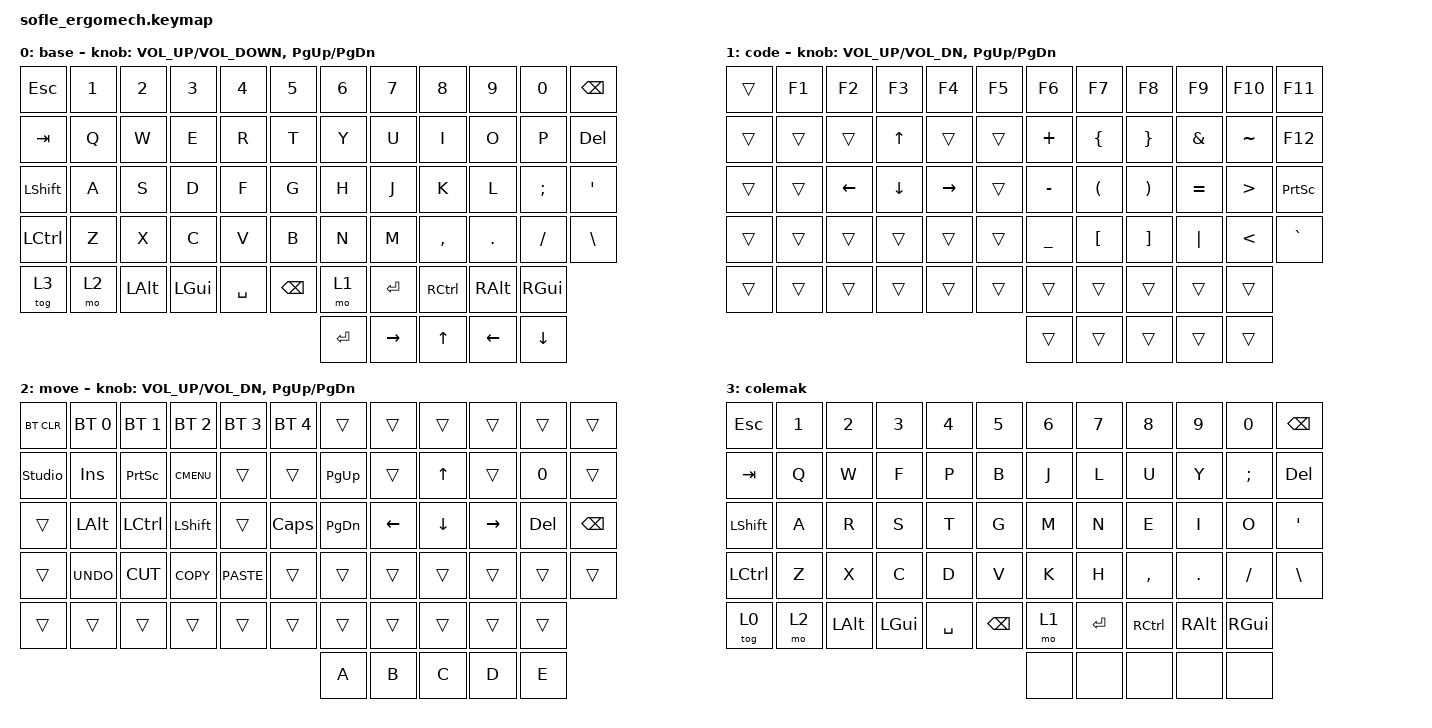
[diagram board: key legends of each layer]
/*
 * Copyright (c) 2020 The ZMK Contributors
 *
 * SPDX-License-Identifier: MIT
 */

#include <behaviors.dtsi>
#include <dt-bindings/zmk/bt.h>
#include <dt-bindings/zmk/keys.h>

#define BASE 0
#define LOWER 1
#define RAISE 2
#define ADJUST 3

/ {
    // Activate ADJUST layer by pressing raise and lower

    conditional_layers {
        compatible = "zmk,conditional-layers";

        adjust_layer {
            if-layers = <LOWER RAISE>;
            then-layer = <ADJUST>;
        };
    };

    keymap {
        compatible = "zmk,keymap";

        Base {
            label = "base";

            // ------------------------------------------------------------------------------------------------------------
            // |   `   |  1  |  2  |  3   |  4   |  5   |                   |  6   |  7    |  8    |  9   |   0   |       |
            // |  ESC  |  Q  |  W  |  E   |  R   |  T   |                   |  Y   |  U    |  I    |  O   |   P   | BKSPC |
            // |  TAB  |  A  |  S  |  D   |  F   |  G   |                   |  H   |  J    |  K    |  L   |   ;   |   '   |
            // | SHIFT |  Z  |  X  |  C   |  V   |  B   |  MUTE  |  |       |  N   |  M    |  ,    |  .   |   /   | SHIFT |
            //               | GUI | ALT  | CTRL | LOWER|  ENTER |  | SPACE | RAISE| CTRL  | ALT   | GUI  |

            bindings = <
&kp ESCAPE        &kp N1  &kp N2    &kp N3        &kp N4     &kp N5         &kp N6     &kp N7     &kp N8        &kp N9    &kp N0    &kp BSPC
&kp TAB           &kp Q   &kp W     &kp E         &kp R      &kp T          &kp Y      &kp U      &kp I         &kp O     &kp P     &kp DEL
&kp LEFT_SHIFT    &kp A   &kp S     &kp D         &kp F      &kp G          &kp H      &kp J      &kp K         &kp L     &kp SEMI  &kp SQT
&kp LEFT_CONTROL  &kp Z   &kp X     &kp C         &kp V      &kp B          &kp N      &kp M      &kp COMMA     &kp DOT   &kp FSLH  &kp BACKSLASH
&tog 3            &mo 2   &kp LALT  &kp LEFT_GUI  &kp SPACE  &kp BACKSPACE  &mo 1      &kp ENTER  &kp RCTRL     &kp RALT  &kp RGUI
                                                                            &kp ENTER  &kp RIGHT  &kp UP_ARROW  &kp LEFT  &kp DOWN
            >;

            sensor-bindings =
                <&inc_dec_kp C_VOLUME_UP C_VOLUME_DOWN>,
                <&inc_dec_kp PG_UP PG_DN>;
        };

        Code {
            label = "code";

            // TODO: Some binds are waiting for shifted keycode support.
            // ------------------------------------------------------------------------------------------------------------
            // |       |  F1 |  F2 |  F3  |  F4  |  F5  |                   |  F6  |  F7   |  F8   |  F9  |  F10  |  F11  |
            // |   `   |  1  |  2  |  3   |  4   |  5   |                   |  6   |  7    |  8    |  9   |   0   |  F12  |
            // |       |  !  |  @  |  #   |  $   |  %   |                   |  ^   |  &    |  *    |  (   |   )   |   |   |
            // |       |  =  |  -  |  +   |  {   |  }   |        |  |       |  [   |  ]    |  ;    |  :   |   \   |       |
            //               |     |      |      |      |        |  |       |      |       |       |      |

            bindings = <
&trans  &kp F1  &kp F2    &kp F3    &kp F4     &kp F5  &kp F6     &kp F7                &kp F8                 &kp F9         &kp F10           &kp F11
&trans  &trans  &trans    &kp UP    &trans     &trans  &kp PLUS   &kp LEFT_BRACE        &kp RIGHT_BRACE        &kp AMPERSAND  &kp TILDE         &kp F12
&trans  &trans  &kp LEFT  &kp DOWN  &kp RIGHT  &trans  &kp MINUS  &kp LEFT_PARENTHESIS  &kp RIGHT_PARENTHESIS  &kp EQUAL      &kp GREATER_THAN  &kp PRINTSCREEN
&trans  &trans  &trans    &trans    &trans     &trans  &kp UNDER  &kp LEFT_BRACKET      &kp RIGHT_BRACKET      &kp PIPE       &kp LESS_THAN     &kp GRAVE
&trans  &trans  &trans    &trans    &trans     &trans  &trans     &trans                &trans                 &trans         &trans
                                                       &trans     &trans                &trans                 &trans         &trans
            >;

            sensor-bindings = <&inc_dec_kp C_VOL_UP C_VOL_DN &inc_dec_kp PG_UP PG_DN>;
        };

        Move {
            label = "move";

            // ------------------------------------------------------------------------------------------------------------
            // | BTCLR | BT1  | BT2  |  BT3  |  BT4  |  BT5 |                |      |      |       |      |       |       |
            // |       | INS  | PSCR | GUI   |       |      |                | PGUP |      |   ^   |      |       |       |
            // |       | ALT  | CTRL | SHIFT |       | CAPS |                | PGDN |   <- |   v   |  ->  |  DEL  | BKSPC |
            // |       | UNDO | CUT  | COPY  | PASTE |      |      |  |      |      |      |       |      |       |       |
            //                |      |       |       |      |      |  |      |      |      |       |      |

            bindings = <
&bt BT_CLR      &bt BT_SEL 0  &bt BT_SEL 1  &bt BT_SEL 2  &bt BT_SEL 3  &bt BT_SEL 4  &trans     &trans    &trans    &trans     &trans   &trans
&studio_unlock  &kp INS       &kp PSCRN     &kp K_CMENU   &trans        &trans        &kp PG_UP  &trans    &kp UP    &trans     &kp N0   &trans
&trans          &kp LALT      &kp LCTRL     &kp LSHFT     &trans        &kp CLCK      &kp PG_DN  &kp LEFT  &kp DOWN  &kp RIGHT  &kp DEL  &kp BSPC
&trans          &kp K_UNDO    &kp K_CUT     &kp K_COPY    &kp K_PASTE   &trans        &trans     &trans    &trans    &trans     &trans   &trans
&trans          &trans        &trans        &trans        &trans        &trans        &trans     &trans    &trans    &trans     &trans
                                                                                      &kp A      &kp B     &kp C     &kp D      &kp E
            >;

            sensor-bindings = <&inc_dec_kp C_VOL_UP C_VOL_DN &inc_dec_kp PG_UP PG_DN>;
        };

        colemak {
            // ----------------------------------------------------------------------------------------------------------------------------
            // | BTCLR  |  BT1    |  BT2    |   BT3   |   BT4   |   BT5   |                  |      |      |       |      |       |       |
            // | EXTPWR | RGB_HUD | RGB_HUI | RGB_SAD | RGB_SAI | RGB_EFF |                  |      |      |       |      |       |       |
            // |        | RGB_BRD | RGB_BRI |         |         |         |                  |      |      |       |      |       |       |
            // |        |         |         |         |         |         | RGB_TOG | |      |      |      |       |      |       |       |
            //                    |         |         |         |         |         | |      |      |      |       |      |

            label = "colemak";
            bindings = <
&kp ESC         &kp NUMBER_1  &kp NUMBER_2  &kp NUMBER_3  &kp NUMBER_4  &kp N5    &kp N6  &kp N7   &kp N8     &kp N9    &kp N0         &kp BSPC
&kp TAB         &kp Q         &kp W         &kp F         &kp P         &kp B     &kp J   &kp L    &kp U      &kp Y     &kp SEMI       &kp DEL
&kp LEFT_SHIFT  &kp A         &kp R         &kp S         &kp T         &kp G     &kp M   &kp N    &kp E      &kp I     &kp O          &kp SQT
&kp LCTRL       &kp Z         &kp X         &kp C         &kp D         &kp V     &kp K   &kp H    &kp COMMA  &kp DOT   &kp FSLH       &kp BSLH
&tog 0          &mo 2         &kp LALT      &kp LEFT_GUI  &kp SPACE     &kp BSPC  &mo 1   &kp RET  &kp RCTRL  &kp RALT  &kp RIGHT_GUI
                                                                                  &none   &none    &none      &none     &none
            >;
        };
    };
};
